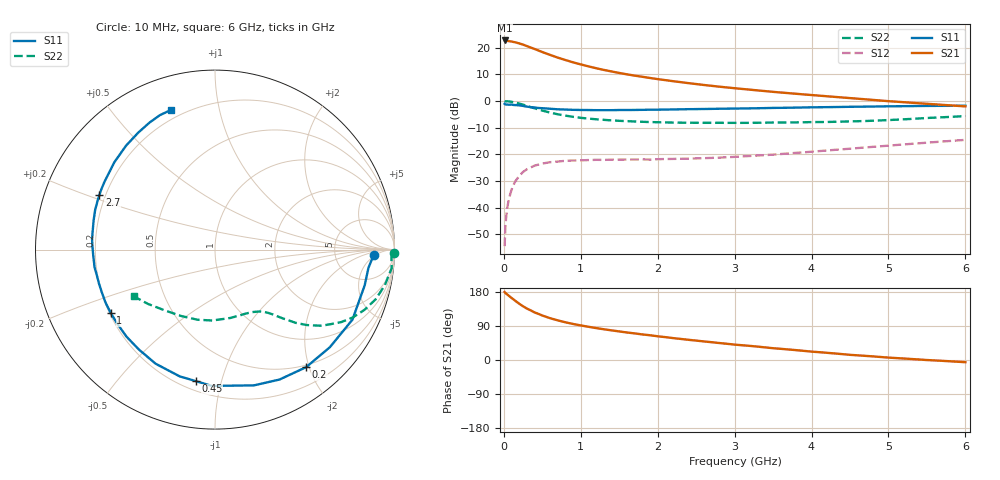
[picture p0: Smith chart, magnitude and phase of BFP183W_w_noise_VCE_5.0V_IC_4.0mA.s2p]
! (c) 2017  Infineon Technologies AG, Munich
! Infineon Technologies  Discrete & RF Semiconductors
! BFP183W
! VCE =  5.0 V,  IC =  4.0 mA
! Common Emitter S-Parameters:  Jan 2017
# GHz  S  MA  R  50
!  f  S11  S21  S12  S22
! GHz  MAG  ANG  MAG  ANG  MAG  ANG  MAG  ANG
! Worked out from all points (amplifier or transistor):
!   77 points, 10 MHz to 6 GHz, reference 50 ohm
!   highest |S21| = 22.7 dB at 10 MHz (marker M1)
!   |S21| within 3 dB of that: start of sweep to 381.4 MHz
!   unconditionally stable (mu >= 1): 2.37 GHz to 4.439 GHz
!   at 130 MHz: K = 0.07, MSG = 26.7 dB, |S12| = -31.2 dB
!   at 2.2 GHz: K = 0.96, MSG = 14.6 dB, |S12| = -21.7 dB
!   at 6 GHz: K = 0.80, MSG = 6.3 dB, |S12| = -14.6 dB
!   lowest NFmin = 0.73 dB at 450 MHz
!   S11 on the Smith chart (normalised r, x): 10 MHz: 15, -4; 200 MHz: 0.47, -1.95; 450 MHz: 0.26, -0.83; 1 GHz: 0.21, -0.27; 2.7 GHz: 0.18, +0.22; 6 GHz: 0.16, +0.72
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0.01  0.8841 -2.0  13.66 179.4  0.0019 87.4  0.9987 -1.2
0.02  0.8609 -6.8  13.48 176.8  0.0044 93.5  0.9839 -2.4
0.04  0.8573 -11.2  13.41 173.5  0.0088 84.8  0.9873 -4.8
0.1  0.8595 -27.0  13.08 163.8  0.0216 77.0  0.9671 -11.8
0.15  0.8399 -40.3  12.6 156.0  0.0314 69.1  0.9361 -17.3
0.2  0.8288 -52.2  12.02 148.5  0.0394 63.7  0.8974 -22.0
0.25  0.8083 -63.6  11.41 141.7  0.0468 57.4  0.8547 -26.3
0.3  0.7869 -74.0  10.71 135.7  0.0526 52.7  0.8106 -29.9
0.4  0.7597 -91.3  9.455 125.5  0.0615 45.3  0.7302 -35.5
0.45  0.7406 -98.3  8.846 121.7  0.0643 42.2  0.6958 -37.4
0.6  0.7167 -117.5  7.334 110.4  0.0713 35.1  0.6078 -42.2
0.7  0.6998 -127.3  6.516 104.6  0.0733 31.8  0.5644 -44.1
0.8  0.6916 -135.5  5.873 99.5  0.0757 30.1  0.5326 -45.7
1  0.6796 -148.8  4.857 91.2  0.0772 26.7  0.4842 -48.3
1.1  0.6775 -154.3  4.463 87.7  0.0782 25.5  0.4687 -49.3
1.5  0.6782 -171.6  3.358 75.4  0.0797 24.0  0.4253 -54.1
2.1  0.6912 169.4  2.463 60.3  0.0817 26.9  0.3972 -63.3
2.7  0.7121 154.8  1.928 47.0  0.0858 32.5  0.39 -75.2
3.1  0.7248 146.6  1.684 38.9  0.0915 36.0  0.3893 -83.5
4.1  0.7646 129.1  1.261 20.6  0.1151 42.8  0.4035 -106.5
5.1  0.798 116.4  0.972 5.1  0.1496 43.9  0.4465 -132.1
6  0.8162 107.3  0.793 -5.8  0.1869 40.8  0.5218 -150.1
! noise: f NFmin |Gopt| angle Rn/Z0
0.45  0.73  0.32  50  0.29
0.9  0.9  0.29  94  0.14
1.9  1.5  0.43  165  0.08
2.4  1.78  0.48  179  0.08
